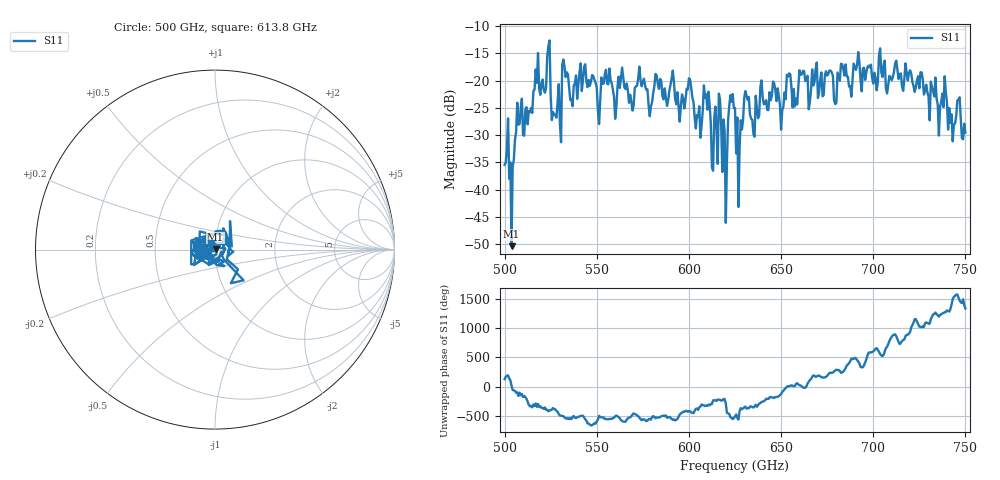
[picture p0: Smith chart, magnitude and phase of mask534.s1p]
!Created with skrf (http://scikit-rf.org).
# GHz S MA R 50.0
!freq magS11 angS11
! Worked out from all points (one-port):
!   401 points, 500 GHz to 750 GHz, reference 50 ohm
!   lowest |S11| = -50.4 dB at 503.8 GHz (marker M1), VSWR 1.01, Z = 50.3 + j0.0837 ohm
!   |S11| at or under -10 dB: start of sweep to end of sweep
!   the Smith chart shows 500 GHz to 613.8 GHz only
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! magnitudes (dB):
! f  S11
! 500 GHz  -35.5
! 503.8 GHz  -50.4
! 508.1 GHz  -28.0
! 513.8 GHz  -25.8
! 516.9 GHz  -17.9
! 523.8 GHz  -13.7
! 526.9 GHz  -26.2
! 531.2 GHz  -17.1
! 532.5 GHz  -17.5
! 536.2 GHz  -23.5
! 562.5 GHz  -21.3
! 593.8 GHz  -22.1
! 600 GHz  -19.6
! 605 GHz  -26.7
! 609.4 GHz  -22.5
! 612.5 GHz  -35.9
! 617.5 GHz  -28.2
! 619.4 GHz  -29.3
! 622.5 GHz  -22.7
! 625 GHz  -25.0
! 626.9 GHz  -43.2
! 631.2 GHz  -22.8
! 634.4 GHz  -27.2
! 640 GHz  -23.0
! 656.2 GHz  -24.9
! 687.5 GHz  -21.0
! 718.8 GHz  -20.0
! 750 GHz  -29.6
